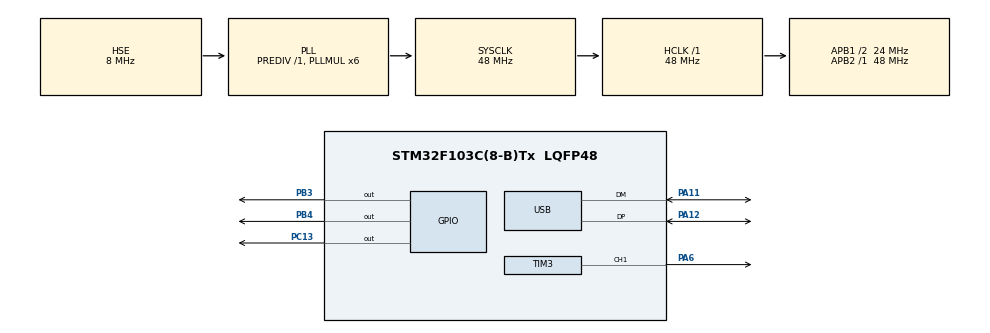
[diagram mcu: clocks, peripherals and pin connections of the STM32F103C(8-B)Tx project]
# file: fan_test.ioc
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Mcu.Family=STM32F1
Mcu.Name=STM32F103C(8-B)Tx
Mcu.Package=LQFP48
NVIC.PriorityGroup=NVIC_PRIORITYGROUP_4
NVIC.USB_LP_CAN1_RX0_IRQn=true\:0\:0\:false\:false\:true\:false\:true\:true
PA11.Mode=Device
PA11.Signal=USB_DM
PA12.Mode=Device
PA12.Signal=USB_DP
PA13.Mode=Serial_Wire
PA13.Signal=SYS_JTMS-SWDIO
PA14.Mode=Serial_Wire
PA14.Signal=SYS_JTCK-SWCLK
PA6.Signal=S_TIM3_CH1
PB3.Signal=GPIO_Output
PB4.Signal=GPIO_Output
PC13-TAMPER-RTC.Signal=GPIO_Output
PD0-OSC_IN.Mode=HSE-External-Oscillator
PD0-OSC_IN.Signal=RCC_OSC_IN
PD1-OSC_OUT.Mode=HSE-External-Oscillator
PD1-OSC_OUT.Signal=RCC_OSC_OUT
ProjectManager.HeapSize=0x200
ProjectManager.StackSize=0x400
ProjectManager.TargetToolchain=STM32CubeIDE
RCC.AHBFreq_Value=48000000
RCC.APB1CLKDivider=RCC_HCLK_DIV2
RCC.APB1Freq_Value=24000000
RCC.APB1TimFreq_Value=48000000
RCC.APB2Freq_Value=48000000
RCC.APB2TimFreq_Value=48000000
RCC.HCLKFreq_Value=48000000
RCC.PLLMUL=RCC_PLL_MUL6
RCC.SYSCLKFreq_VALUE=48000000
RCC.SYSCLKSource=RCC_SYSCLKSOURCE_PLLCLK
RCC.USBFreq_Value=48000000
SH.S_TIM3_CH1.0=TIM3_CH1,PWM Generation1 CH1
TIM3.AutoReloadPreload=TIM_AUTORELOAD_PRELOAD_ENABLE
TIM3.Channel-PWM\ Generation1\ CH1=TIM_CHANNEL_1
TIM3.Period=999
TIM3.Prescaler=72
USB_DEVICE.CLASS_NAME_FS=CDC
USB_DEVICE.VirtualMode=Cdc
USB_DEVICE.VirtualModeFS=Cdc_FS
VP_TIM3_VS_ClockSourceINT.Mode=Internal
VP_USB_DEVICE_VS_USB_DEVICE_CDC_FS.Mode=CDC_FS
board=custom

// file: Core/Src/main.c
/* USER CODE BEGIN Header */
/**
  ******************************************************************************
  * @file           : main.c
  * @brief          : Main program body
  ******************************************************************************
  * @attention
  *
  * Copyright (c) 2026 STMicroelectronics.
  * All rights reserved.
  *
  * This software is licensed under terms that can be found in the LICENSE file
  * in the root directory of this software component.
  * If no LICENSE file comes with this software, it is provided AS-IS.
  *
  ******************************************************************************
  */
/* USER CODE END Header */
#include "main.h"
#include "tim.h"
#include "usb_device.h"
#include "gpio.h"

/* USER CODE BEGIN Includes */
#include "gesture.h"
/* USER CODE END Includes */

/* USER CODE BEGIN PV */
static uint32_t led_tick = 0;
/* USER CODE END PV */

void SystemClock_Config(void);

int main(void)
{

  /* MCU Configuration--------------------------------------------------------*/

  /* Reset of all peripherals, Initializes the Flash interface and the Systick. */
  HAL_Init();

  /* Configure the system clock */
  SystemClock_Config();

  /* Initialize all configured peripherals */
  MX_GPIO_Init();
  MX_TIM3_Init();
  MX_USB_DEVICE_Init();
  /* USER CODE BEGIN 2 */
  /* ── PB3/PB4 GPIO: L298N IN1/IN2 ── */
  __HAL_RCC_GPIOB_CLK_ENABLE();
  GPIO_InitTypeDef g = {0};
  g.Mode = GPIO_MODE_OUTPUT_PP;
  g.Pull = GPIO_NOPULL;
  g.Speed = GPIO_SPEED_FREQ_LOW;
  g.Pin = GPIO_PIN_3 | GPIO_PIN_4;
  HAL_GPIO_Init(GPIOB, &g);
  HAL_GPIO_WritePin(GPIOB, GPIO_PIN_3, GPIO_PIN_SET);   /* IN1=H, 正转 */
  HAL_GPIO_WritePin(GPIOB, GPIO_PIN_4, GPIO_PIN_RESET); /* IN2=L */

  /* ── 启动 TIM3 PWM (PA6 → L298N ENA) ── */
  HAL_TIM_PWM_Start(&htim3, TIM_CHANNEL_1);
  /* USER CODE END 2 */

  /* Infinite loop */
  while (1)
  {

    /* USER CODE BEGIN 3 */
    if (g_gesture_ready) {
        g_gesture_ready = 0;

        /* ── 手势 → 风扇转速 ── */
        switch (g_gesture.class_id) {
            case 20: case 24:                                    /* palm/stop 开机 */
                __HAL_TIM_SET_COMPARE(&htim3, TIM_CHANNEL_1, 999);  break;  /* 4档 */
            case 14:                                             /* fist 关机 */
                __HAL_TIM_SET_COMPARE(&htim3, TIM_CHANNEL_1, 0);    break;
            case 19:                                             /* one 1档 */
                __HAL_TIM_SET_COMPARE(&htim3, TIM_CHANNEL_1, 250);  break;
            case 21: case 22: case 28: case 29:                  /* peace 2档 */
                __HAL_TIM_SET_COMPARE(&htim3, TIM_CHANNEL_1, 500);  break;
            case 26: case 27: case 5:  case 30:                  /* three 3档 */
                __HAL_TIM_SET_COMPARE(&htim3, TIM_CHANNEL_1, 750);  break;
            case 15:                                             /* four 4档 */
                __HAL_TIM_SET_COMPARE(&htim3, TIM_CHANNEL_1, 999);  break;
            default: break;
        }

        HAL_GPIO_WritePin(GPIOC, GPIO_PIN_13, GPIO_PIN_RESET);   /* LED 亮 */
        led_tick = HAL_GetTick();
    }
    if (HAL_GetTick() - led_tick > 100) {
        HAL_GPIO_WritePin(GPIOC, GPIO_PIN_13, GPIO_PIN_SET);     /* LED 灭 */
    }
  }
  /* USER CODE END 3 */
}

void SystemClock_Config(void)
{
  RCC_OscInitTypeDef RCC_OscInitStruct = {0};
  RCC_ClkInitTypeDef RCC_ClkInitStruct = {0};
  RCC_PeriphCLKInitTypeDef PeriphClkInit = {0};

  /** Initializes the RCC Oscillators according to the specified parameters
  * in the RCC_OscInitTypeDef structure.
  */
  RCC_OscInitStruct.OscillatorType = RCC_OSCILLATORTYPE_HSE;
  RCC_OscInitStruct.HSEState = RCC_HSE_ON;
  RCC_OscInitStruct.HSEPredivValue = RCC_HSE_PREDIV_DIV1;
  RCC_OscInitStruct.HSIState = RCC_HSI_ON;
  RCC_OscInitStruct.PLL.PLLState = RCC_PLL_ON;
  RCC_OscInitStruct.PLL.PLLSource = RCC_PLLSOURCE_HSE;
  RCC_OscInitStruct.PLL.PLLMUL = RCC_PLL_MUL6;
  if (HAL_RCC_OscConfig(&RCC_OscInitStruct) != HAL_OK)
  {
    Error_Handler();
  }

  /** Initializes the CPU, AHB and APB buses clocks
  */
  RCC_ClkInitStruct.ClockType = RCC_CLOCKTYPE_HCLK|RCC_CLOCKTYPE_SYSCLK
                              |RCC_CLOCKTYPE_PCLK1|RCC_CLOCKTYPE_PCLK2;
  RCC_ClkInitStruct.SYSCLKSource = RCC_SYSCLKSOURCE_PLLCLK;
  RCC_ClkInitStruct.AHBCLKDivider = RCC_SYSCLK_DIV1;
  RCC_ClkInitStruct.APB1CLKDivider = RCC_HCLK_DIV2;
  RCC_ClkInitStruct.APB2CLKDivider = RCC_HCLK_DIV1;

  if (HAL_RCC_ClockConfig(&RCC_ClkInitStruct, FLASH_LATENCY_1) != HAL_OK)
  {
    Error_Handler();
  }
  PeriphClkInit.PeriphClockSelection = RCC_PERIPHCLK_USB;
  PeriphClkInit.UsbClockSelection = RCC_USBCLKSOURCE_PLL;
  if (HAL_RCCEx_PeriphCLKConfig(&PeriphClkInit) != HAL_OK)
  {
    Error_Handler();
  }
}

void Error_Handler(void)
{
  __disable_irq();
  while (1)
  {
  }
}
